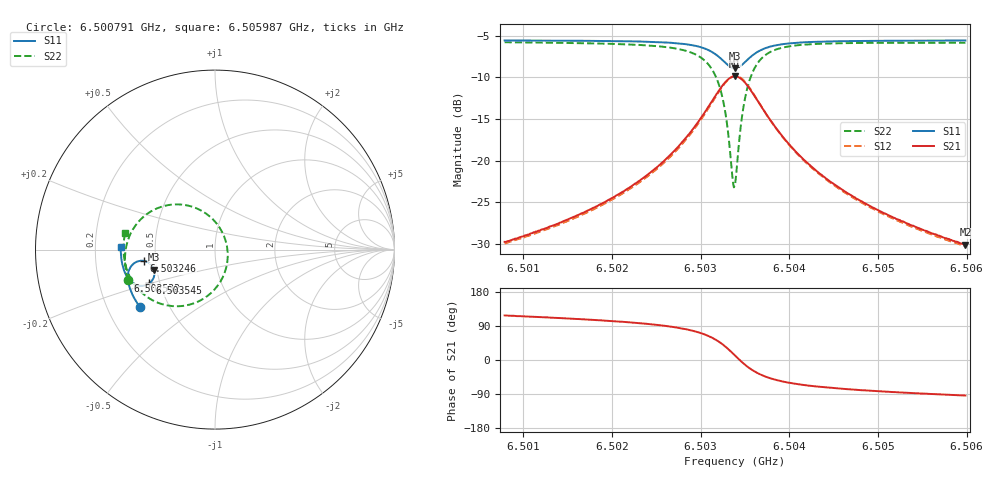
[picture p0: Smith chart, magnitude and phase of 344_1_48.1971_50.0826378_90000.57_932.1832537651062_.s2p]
#  HZ  S  RI  R  50.00
! Rohde & Schwarz Vector Network Analyzer
! Rohde-Schwarz,ZNB20-2Port,1311601062101988,3.16
! Created: UTC 3/20/2024, 11:51:30 AM
! freq[Hz]  re:S11  im:S11  re:S21  im:S21  re:S12  im:S12  re:S22  im:S22
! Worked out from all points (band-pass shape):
!   401 points, 6.500791 GHz to 6.505987 GHz, reference 50 ohm
!   highest |S21| = -9.88 dB at 6.503389 GHz (marker M1); lowest = -30.1 dB at 6.505987 GHz (marker M2)
!   |S21| within 3 dB of the highest: 6.503128 GHz to 6.503648 GHz (519.3 kHz wide, 0.00799 % of centre)
!   lowest |S11| = -8.9 dB at 6.503389 GHz (marker M3), VSWR 2.11, Z = 24.1 - j6.14 ohm
!   |S11| at or under -10 dB: nowhere
!   |S22| runs from -23.2 to -5.8 dB; largest |S21 - S12| = 0.011
!   S11 on the Smith chart (normalised r, x): 6.500791 GHz: 0.34, -0.30; 6.502532 GHz: 0.33, -0.15; 6.503246 GHz: 0.43, -0.06; 6.503545 GHz: 0.44, -0.20; 6.505987 GHz: 0.31, +0.01
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6.5007913e9  -0.419 -0.3186  -0.0151 0.0289  -0.0134 0.0289  -0.4851 -0.1683
6.5016615e9  -0.4576 -0.2557  -0.0146 0.0461  -0.0123 0.0457  -0.5008 -0.0783
6.502155e9  -0.4754 -0.2128  -0.0118 0.0657  -0.00875 0.0645  -0.499 -0.0102
6.5025317e9  -0.4849 -0.1721  -0.00339 0.0936  0.000207 0.0915  -0.4814 0.0627
6.5028304e9  -0.4836 -0.1289  0.0202 0.1344  0.0239 0.1304  -0.4325 0.148
6.5030252e9  -0.4665 -0.0919  0.0663 0.1749  0.069 0.1692  -0.3434 0.2201
6.5031551e9  -0.4351 -0.0674  0.1346 0.1974  0.1357 0.1912  -0.2194 0.2519
6.503246e9  -0.3973 -0.0625  0.2098 0.1876  0.2102 0.1822  -0.089 0.2236
6.503298e9  -0.3724 -0.0709  0.2572 0.1599  0.2581 0.1552  -0.0101 0.167
6.5033629e9  -0.3463 -0.0969  0.3038 0.0974  0.3064 0.0924  0.0598 0.0472
6.5033889e9  -0.3402 -0.1111  0.3139 0.0659  0.3167 0.0602  0.0702 -0.0114
6.5034019e9  -0.3384 -0.1186  0.3163 0.0496  0.3193 0.0433  0.0709 -0.0414
6.5034538e9  -0.3395 -0.1487  0.3106 -0.0146  0.3133 -0.0232  0.0428 -0.1549
6.5034798e9  -0.3444 -0.1623  0.2996 -0.0427  0.3013 -0.0525  0.0137 -0.2024
6.5035448e9  -0.3653 -0.1873  0.2577 -0.0956  0.2564 -0.1063  -0.0802 -0.2827
6.5036487e9  -0.4038 -0.2019  0.1852 -0.1307  0.1798 -0.1397  -0.2258 -0.3156
6.5038175e9  -0.4489 -0.192  0.1058 -0.1279  0.0989 -0.1327  -0.3688 -0.2701
6.5039993e9  -0.4757 -0.1705  0.0626 -0.1085  0.0565 -0.1107  -0.4391 -0.2066
6.5042591e9  -0.4963 -0.1405  0.0332 -0.0851  0.0286 -0.0855  -0.4816 -0.1358
6.5046228e9  -0.511 -0.1031  0.0155 -0.0637  0.0122 -0.0634  -0.503 -0.0659
6.5051293e9  -0.5211 -0.0566  0.00485 -0.0465  0.00263 -0.046  -0.5096 0.00396
6.5059865e9  -0.5257 0.0153  -0.00211 -0.0312  -0.00336 -0.0305  -0.5013 0.0928
